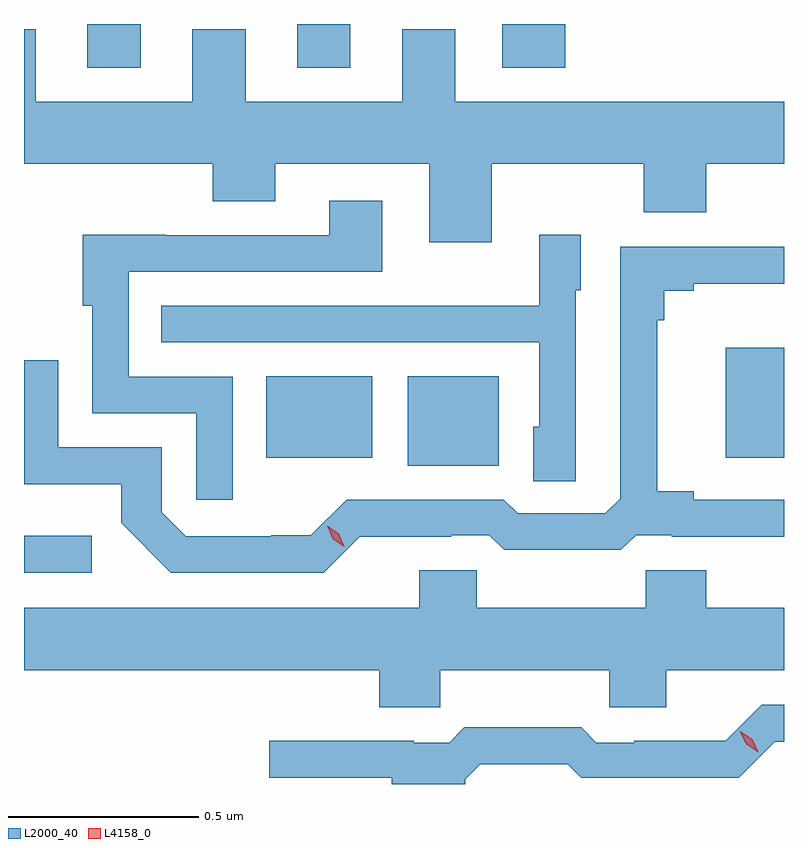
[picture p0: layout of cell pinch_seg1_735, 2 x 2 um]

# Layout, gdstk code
import gdstk
lib = gdstk.Library(unit=1e-6, precision=1e-09)
def R(c, l, rs):  # rectangles x0, y0, x1, y1
    for r in rs: c.add(gdstk.rectangle(r[:2], r[2:], *l))
def P(c, l, *ps):  # polygons
    for p in ps: c.add(gdstk.Polygon(p, *l))
L2000_40 = (2000, 40)
L4158_0 = (4158, 0)

pinch_seg1_735 = lib.new_cell('pinch_seg1_735')
R(pinch_seg1_735, L2000_40, [(642.024,520.02,642.202,520.117), (643.034,520.301,643.273,520.537), (642.662,520.322,642.94,520.537), (643.871,520.322,644.024,520.612), (642.191,521.349,642.331,521.464), (642.743,521.349,642.883,521.464), (643.283,521.349,643.448,521.464)])
P(pinch_seg1_735, L2000_40, [(643.255,521.096),(643.655,521.096),(643.655,520.968),(643.819,520.968),(643.819,521.096),(644.024,521.096),(644.024,521.26),(643.159,521.26),(643.159,521.45),(643.019,521.45),(643.019,521.26),(642.607,521.26),(642.607,521.45),(642.467,521.45),(642.467,521.26),(642.055,521.26),(642.055,521.45),(642.024,521.45),(642.024,521.096),(642.521,521.096),(642.521,520.997),(642.685,520.997),(642.685,521.096),(643.091,521.096),(643.091,520.89),(643.255,520.89)],
  [(642.573,520.536),(642.3,520.536),(642.3,520.812),(642.967,520.812),(642.967,520.999),(642.827,520.999),(642.827,520.908),(642.397,520.908),(642.397,520.91),(642.179,520.91),(642.179,520.722),(642.204,520.722),(642.204,520.44),(642.477,520.44),(642.477,520.212),(642.573,520.212)],
  [(643.476,520.764),(643.489,520.764),(643.489,520.909),(643.38,520.909),(643.38,520.723),(643.063,520.723),(643.063,520.722),(642.385,520.722),(642.385,520.626),(643.38,520.626),(643.38,520.404),(643.364,520.404),(643.364,520.261),(643.476,520.261)],
  [(642.908,520.115),(643.148,520.115),(643.148,520.119),(643.248,520.119),(643.288,520.08),(643.595,520.08),(643.635,520.119),(643.729,520.119),(643.729,520.115),(644.024,520.115),(644.024,520.212),(643.786,520.212),(643.786,520.235),(643.691,520.235),(643.691,520.685),(643.709,520.685),(643.709,520.762),(643.786,520.762),(643.786,520.781),(644.024,520.781),(644.024,520.878),(643.593,520.878),(643.593,520.215),(643.554,520.176),(643.323,520.176),(643.287,520.212),(642.873,520.212),(642.779,520.118),(642.674,520.118),(642.674,520.116),(642.45,520.116),(642.387,520.179),(642.387,520.35),(642.114,520.35),(642.114,520.579),(642.024,520.579),(642.024,520.253),(642.28,520.253),(642.28,520.151),(642.41,520.02),(642.813,520.02)],
  [(643.119,519.764),(643.564,519.764),(643.564,519.666),(643.714,519.666),(643.714,519.764),(644.024,519.764),(644.024,519.928),(643.82,519.928),(643.82,520.026),(643.66,520.026),(643.66,519.928),(643.215,519.928),(643.215,520.026),(643.064,520.026),(643.064,519.928),(642.024,519.928),(642.024,519.764),(642.959,519.764),(642.959,519.666),(643.119,519.666)],
  [(643.185,519.477),(643.224,519.516),(643.455,519.516),(643.491,519.48),(643.905,519.48),(644,519.575),(644.024,519.575),(644.024,519.672),(643.965,519.672),(643.871,519.578),(643.63,519.578),(643.63,519.573),(643.53,519.573),(643.491,519.613),(643.183,519.613),(643.143,519.573),(643.049,519.573),(643.049,519.578),(642.669,519.578),(642.669,519.48),(642.992,519.48),(642.992,519.464),(643.185,519.464)])
P(pinch_seg1_735, L4158_0, [(642.867,520.088),(642.837,520.109),(642.822,520.144),(642.822,520.144),(642.822,520.144),(642.852,520.122),(642.867,520.088),(642.867,520.088)],
  [(643.956,519.548),(643.925,519.569),(643.909,519.602),(643.909,519.603),(643.909,519.603),(643.94,519.582),(643.956,519.548),(643.956,519.548)])

lib.write_gds('pinch_seg1_735.gds')
